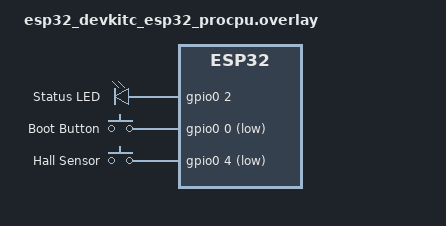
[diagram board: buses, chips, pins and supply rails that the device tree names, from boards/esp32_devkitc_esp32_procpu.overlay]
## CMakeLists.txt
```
cmake_minimum_required(VERSION 3.20.0)
find_package(Zephyr REQUIRED HINTS $ENV{ZEPHYR_BASE})
project(hello_world)
target_sources(app PRIVATE src/main.cpp)
```

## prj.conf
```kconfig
# Logging
CONFIG_PRINTK=y
CONFIG_LOG=y
CONFIG_LOG_DEFAULT_LEVEL=3

# C++
CONFIG_CPP=y
CONFIG_STD_CPP2B=y
CONFIG_GLIBCXX_LIBCPP=y

CONFIG_MAIN_STACK_SIZE=2048

CONFIG_GPIO=y
```

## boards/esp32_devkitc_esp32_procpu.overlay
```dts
/ {
    /* Define physical GPIO nodes for original ESP32 */
    leds {
        compatible = "gpio-leds";
        led0: led_0 {
            gpios = <&gpio0 2 GPIO_ACTIVE_HIGH>; /* Physical onboard LED on GPIO2 */
            label = "Status LED";
        };
    };

    buttons {
        compatible = "gpio-keys";
        button0: button_0 {
            gpios = <&gpio0 0 (GPIO_PULL_UP | GPIO_ACTIVE_LOW)>; /* Onboard BOOT button on GPIO0 */
            label = "Boot Button";
        };
        button1: button_1 {
            gpios = <&gpio0 4 (GPIO_PULL_UP | GPIO_ACTIVE_LOW)>; /* External pin on GPIO4 */
            label = "Hall Sensor";
        };
    };

    /* Point aliases to the defined nodes */
    aliases {
        led0 = &led0;
        sw0 = &button0;
        hal0 = &button1;
    };
};
```

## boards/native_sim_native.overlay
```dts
/* native_sim has no real button or LED, so both run on the GPIO emulator. */
/ {
    emul_gpio: gpio_emul {
        compatible = "zephyr,gpio-emul";
        status = "okay";
        gpio-controller;
        #gpio-cells = <2>;
        ngpios = <32>;
        interrupt-controller;
        #interrupt-cells = <2>;
        rising-edge;
        falling-edge;
        high-level;
        low-level;
    };

    leds {
        compatible = "gpio-leds";
        test_led: led_0 {
            gpios = <&emul_gpio 10 GPIO_ACTIVE_HIGH>;
        };
    };

    buttons {
        compatible = "gpio-keys";
        test_button: btn_0 {
            gpios = <&emul_gpio 11 (GPIO_PULL_UP | GPIO_ACTIVE_LOW)>;
            zephyr,code = <0x01>;  /* KEY_0 */
        };
    };

    aliases {
        led0 = &test_led;
        sw0 = &test_button;
    };
};
```

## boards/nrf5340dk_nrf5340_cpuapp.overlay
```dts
/* Nothing to add: the board's devicetree already sets led0 = &led0 and sw0 = &button0. */
```

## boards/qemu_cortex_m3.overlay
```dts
#include <zephyr/dt-bindings/gpio/gpio.h>

/ {
    aliases {
        led0 = &test_led;
        sw0 = &test_button;
    };

    leds {
        compatible = "gpio-leds";
        test_led: led_0 {
            /* Pin 0 on GPIO port 0 */
            gpios = <&gpio0 0 GPIO_ACTIVE_HIGH>;
        };
    };

    buttons {
        compatible = "gpio-keys";
        test_button: btn_0 {
            /* Pin 1 on GPIO port 0 */
            gpios = <&gpio0 1 (GPIO_PULL_UP | GPIO_ACTIVE_LOW)>;
        };
    };
};
```

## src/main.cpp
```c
#include <zephyr/device.h>
#include <zephyr/drivers/gpio.h>
#include <zephyr/kernel.h>
#include <zephyr/sys/printk.h>

/* Same code for a physical or an emulated button, picked by the sw0 alias. */
#define BUTTON_NODE DT_ALIAS(sw0)
static const struct gpio_dt_spec button = GPIO_DT_SPEC_GET(BUTTON_NODE, gpios);

#define LED0_NODE DT_ALIAS(led0)
static const struct gpio_dt_spec led = GPIO_DT_SPEC_GET(LED0_NODE, gpios);

static struct gpio_callback button_cb_data;

static bool led_state = false;

void button_pressed_cb(const struct device *dev, struct gpio_callback *cb, uint32_t pins) {
    gpio_pin_toggle_dt(&led);
    led_state = !led_state;
    printk("Button pressed! LED is now %s\n", led_state ? "ON" : "OFF");
}

int main() {
    int ret = 0;

    printk("GPIO Button + LED Toggle started\n");

    /* Check button device */
    if (!device_is_ready(button.port)) {
        printk("Error: button device %s is not ready\n", button.port->name);
        return 0;
    }

    if (led.port == nullptr || !device_is_ready(led.port)) {
        printk("Error: LED device %s is not ready\n", led.port->name);
        return 0;
    }

    /* Configure LED as output */
    ret = gpio_pin_configure_dt(&led, GPIO_OUTPUT_INACTIVE);
    if (ret != 0) {
        printk("Error %d: failed to configure LED\n", ret);
        return 0;
    }

    /* Configure button as input with interrupt */
    ret = gpio_pin_configure_dt(&button, GPIO_INPUT);
    if (ret != 0) {
        printk("Error %d: failed to configure button\n", ret);
        return 0;
    }

    ret = gpio_pin_interrupt_configure_dt(&button, GPIO_INT_EDGE_TO_ACTIVE);
    if (ret != 0) {
        printk("Error %d: failed to configure interrupt\n", ret);
        return 0;
    }

    /* Set up callback */
    gpio_init_callback(&button_cb_data, button_pressed_cb, BIT(button.pin));
    ret = gpio_add_callback(button.port, &button_cb_data);
    if (ret != 0) {
        printk("Error %d: failed to add callback\n", ret);
        return 0;
    }

    printk("Ready. Press the button to toggle LED.\n");

    while (true) {
        k_sleep(K_FOREVER);
    }
    return 0;
}
```
